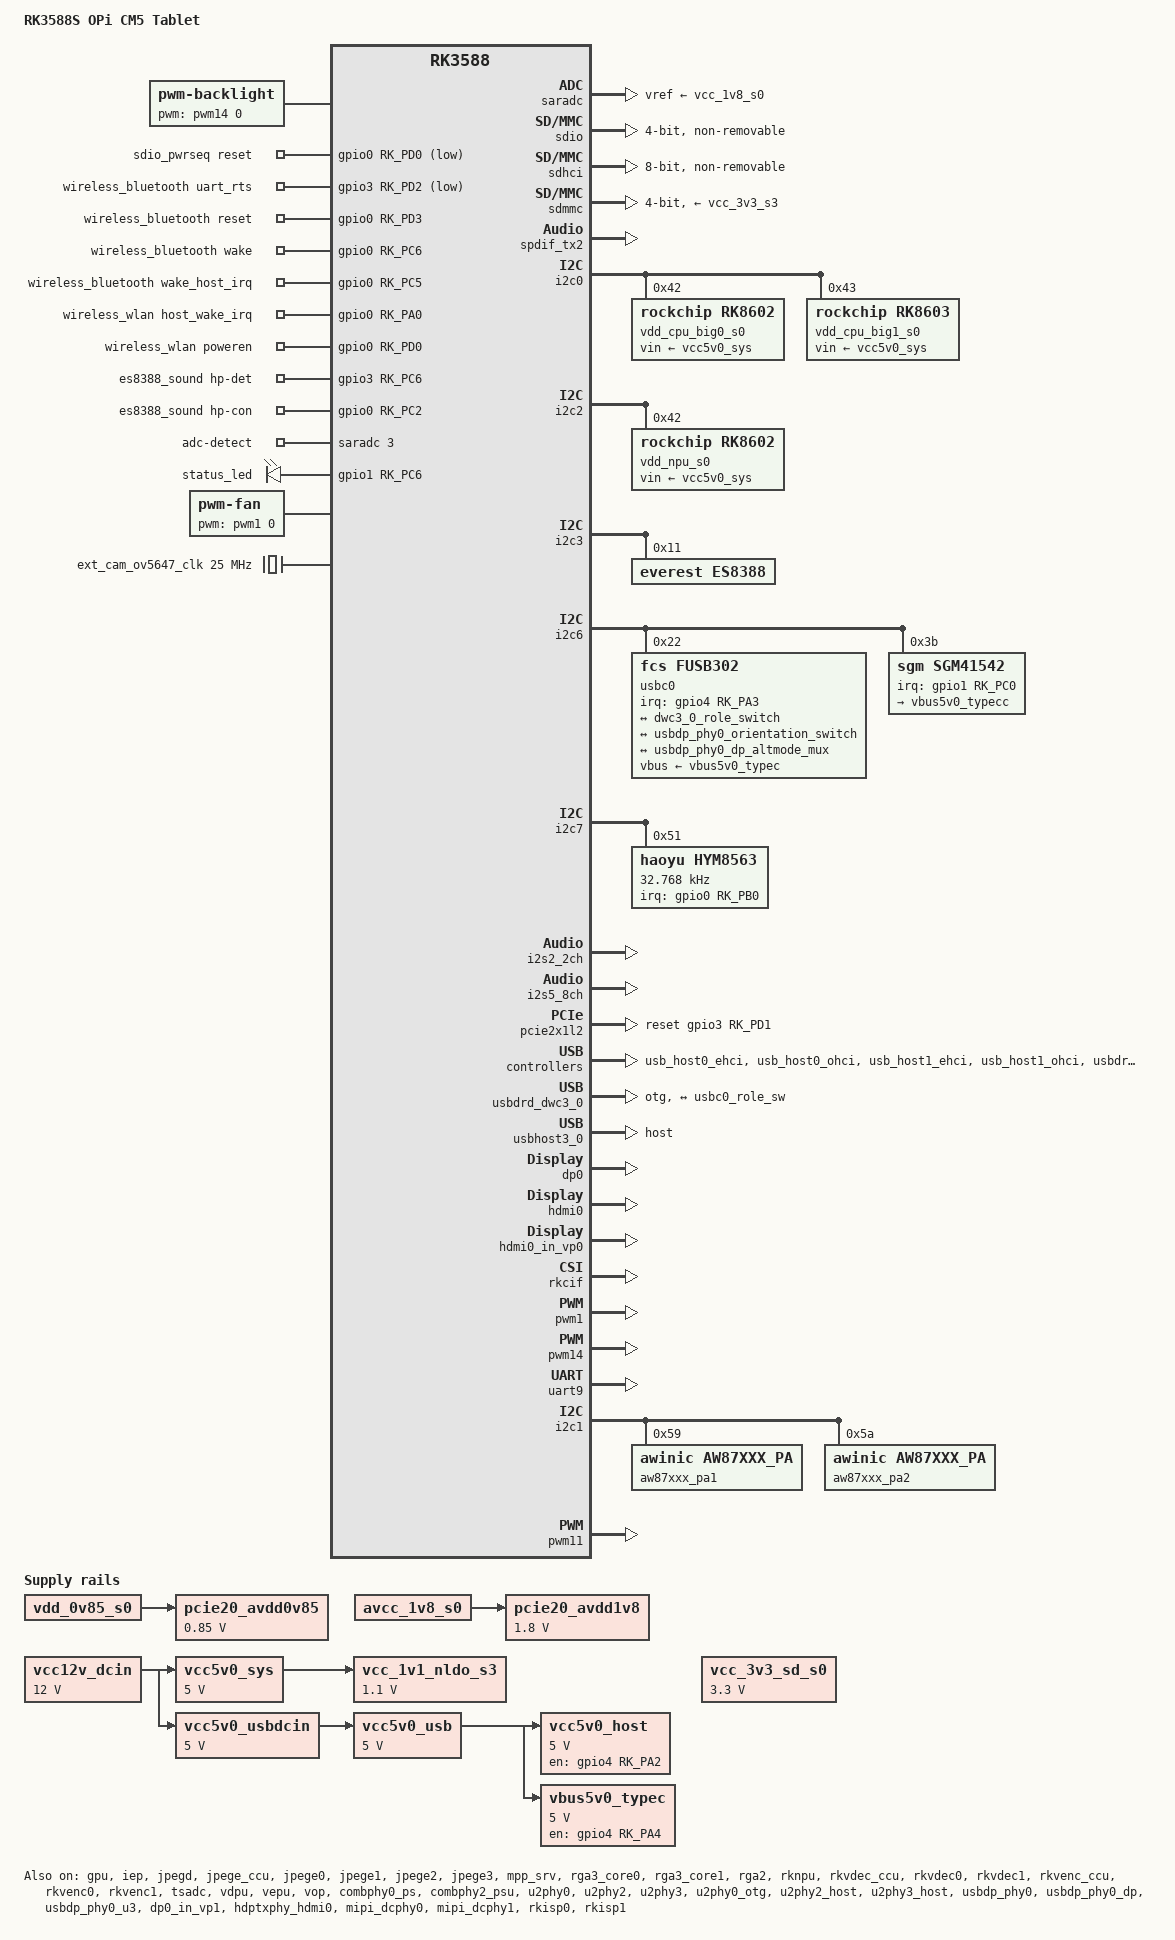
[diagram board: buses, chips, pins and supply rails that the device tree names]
// SPDX-License-Identifier: (GPL-2.0+ OR MIT)
/*
 * Copyright (c) 2021 Rockchip Electronics Co., Ltd.
 *
 */

/dts-v1/;

#include <dt-bindings/gpio/gpio.h>
#include <dt-bindings/pwm/pwm.h>
#include <dt-bindings/pinctrl/rockchip.h>
#include <dt-bindings/input/rk-input.h>
#include <dt-bindings/display/drm_mipi_dsi.h>
#include <dt-bindings/display/rockchip_vop.h>
#include <dt-bindings/sensor-dev.h>
#include "dt-bindings/usb/pd.h"

#include "rk3588s.dtsi"
#include "rk3588-rk806-single.dtsi"
#include "rk3588-linux.dtsi"

#include "rk3588s-orangepi-cm5-tablet-lcd.dtsi"
#include "rk3588s-orangepi-cm5-tablet-camera1.dtsi"
#include "rk3588s-orangepi-cm5-tablet-camera2.dtsi"
#include "rk3588s-orangepi-cm5-tablet-camera3.dtsi"

/ {
	model = "RK3588S OPi CM5 Tablet";
	compatible = "rockchip,rk3588s-orangepi-cm5-tablet", "rockchip,rk3588";

	backlight: backlight {
		compatible = "pwm-backlight";
		pwms = <&pwm14 0 25000 0>;
		brightness-levels = <
			  0  20  20  21  21  22  22  23
			 23  24  24  25  25  26  26  27
			 27  28  28  29  29  30  30  31
			 31  32  32  33  33  34  34  35
			 35  36  36  37  37  38  38  39
			 40  41  42  43  44  45  46  47
			 48  49  50  51  52  53  54  55
			 56  57  58  59  60  61  62  63
			 64  65  66  67  68  69  70  71
			 72  73  74  75  76  77  78  79
			 80  81  82  83  84  85  86  87
			 88  89  90  91  92  93  94  95
			 96  97  98  99 100 101 102 103
			104 105 106 107 108 109 110 111
			112 113 114 115 116 117 118 119
			120 121 122 123 124 125 126 127
			128 129 130 131 132 133 134 135
			136 137 138 139 140 141 142 143
			144 145 146 147 148 149 150 151
			152 153 154 155 156 157 158 159
			160 161 162 163 164 165 166 167
			168 169 170 171 172 173 174 175
			176 177 178 179 180 181 182 183
			184 185 186 187 188 189 190 191
			192 193 194 195 196 197 198 199
			200 201 202 203 204 205 206 207
			208 209 210 211 212 213 214 215
			216 217 218 219 220 221 222 223
			224 225 226 227 228 229 230 231
			232 233 234 235 236 237 238 239
			240 241 242 243 244 245 246 247
			248 249 250 251 252 253 254 255
		>;
		default-brightness-level = <200>;
	};

	dp0_sound: dp0-sound {
		status = "okay";
		compatible = "rockchip,hdmi";
		rockchip,card-name= "rockchip,dp0";
		rockchip,mclk-fs = <512>;
		rockchip,cpu = <&spdif_tx2>;
		rockchip,codec = <&dp0 1>;
		rockchip,jack-det;
	};

	hdmi0_sound: hdmi0-sound {
		status = "okay";
		compatible = "rockchip,hdmi";
		rockchip,mclk-fs = <128>;
		rockchip,card-name = "rockchip-hdmi0";
		rockchip,cpu = <&i2s5_8ch>;
		rockchip,codec = <&hdmi0>;
		rockchip,jack-det;
	};

	test-power {
		status = "disabled";
	};

	vcc12v_dcin: vcc12v-dcin {
		compatible = "regulator-fixed";
		regulator-name = "vcc12v_dcin";
		regulator-always-on;
		regulator-boot-on;
		regulator-min-microvolt = <12000000>;
		regulator-max-microvolt = <12000000>;
	};

	vcc5v0_sys: vcc5v0-sys {
		compatible = "regulator-fixed";
		regulator-name = "vcc5v0_sys";
		regulator-always-on;
		regulator-boot-on;
		regulator-min-microvolt = <5000000>;
		regulator-max-microvolt = <5000000>;
		vin-supply = <&vcc12v_dcin>;
	};

	vcc5v0_usbdcin: vcc5v0-usbdcin {
		compatible = "regulator-fixed";
		regulator-name = "vcc5v0_usbdcin";
		regulator-always-on;
		regulator-boot-on;
		regulator-min-microvolt = <5000000>;
		regulator-max-microvolt = <5000000>;
		vin-supply = <&vcc12v_dcin>;
	};

	vcc5v0_usb: vcc5v0-usb {
		compatible = "regulator-fixed";
		regulator-name = "vcc5v0_usb";
		regulator-always-on;
		regulator-boot-on;
		regulator-min-microvolt = <5000000>;
		regulator-max-microvolt = <5000000>;
		vin-supply = <&vcc5v0_usbdcin>;
	};

	vcc_1v1_nldo_s3: vcc-1v1-nldo-s3 {
		compatible = "regulator-fixed";
		regulator-name = "vcc_1v1_nldo_s3";
		regulator-always-on;
		regulator-boot-on;
		regulator-min-microvolt = <1100000>;
		regulator-max-microvolt = <1100000>;
		vin-supply = <&vcc5v0_sys>;
	};

	vcc_3v3_sd_s0: vcc-3v3-sd-s0 {
		compatible = "regulator-fixed";
		regulator-name = "vcc_3v3_sd_s0";
		regulator-min-microvolt = <3300000>;
		regulator-max-microvolt = <3300000>;
	};

	pcie20_avdd0v85: pcie20-avdd0v85 {
		compatible = "regulator-fixed";
		regulator-name = "pcie20_avdd0v85";
		regulator-boot-on;
		regulator-always-on;
		regulator-min-microvolt = <850000>;
		regulator-max-microvolt = <850000>;
		vin-supply = <&vdd_0v85_s0>;
	};

	pcie20_avdd1v8: pcie20-avdd1v8 {
		compatible = "regulator-fixed";
		regulator-name = "pcie20_avdd1v8";
		regulator-boot-on;
		regulator-always-on;
		regulator-min-microvolt = <1800000>;
		regulator-max-microvolt = <1800000>;
		vin-supply = <&avcc_1v8_s0>;
	};

	vcc5v0_host: vcc5v0-host {
		compatible = "regulator-fixed";
		regulator-name = "vcc5v0_host";
		regulator-boot-on;
		regulator-always-on;
		enable-active-high;
		gpio = <&gpio4 RK_PA2 GPIO_ACTIVE_HIGH>;
		regulator-min-microvolt = <5000000>;
		regulator-max-microvolt = <5000000>;
		vin-supply = <&vcc5v0_usb>;
		pinctrl-names = "default";
		pinctrl-0 = <&vcc5v0_host_en>;
	};

	vbus5v0_typec: vbus5v0-typec {
		compatible = "regulator-fixed";
		regulator-name = "vbus5v0_typec";
		regulator-min-microvolt = <5000000>;
		regulator-max-microvolt = <5000000>;
		enable-active-high;
		gpio = <&gpio4 RK_PA4 GPIO_ACTIVE_HIGH>;
		vin-supply = <&vcc5v0_usb>;
		pinctrl-names = "default";
		pinctrl-0 = <&typec5v_pwren>;
	};

        sdio_pwrseq: sdio-pwrseq {
                compatible = "mmc-pwrseq-simple";
                clocks = <&hym8563>;
                clock-names = "ext_clock";
                pinctrl-names = "default";
                pinctrl-0 = <&wifi_enable_h>;
                /*
                 * On the module itself this is one of these (depending
                 * on the actual card populated):
                 * - SDIO_RESET_L_WL_REG_ON
                 * - PDN (power down when low)
                 */
                post-power-on-delay-ms = <200>;
                reset-gpios = <&gpio0 RK_PD0 GPIO_ACTIVE_LOW>;
        };

	wireless_bluetooth: wireless-bluetooth {
		compatible = "bluetooth-platdata";
		clocks = <&hym8563>;
		clock-names = "ext_clock";
		uart_rts_gpios = <&gpio3 RK_PD2 GPIO_ACTIVE_LOW>;
		pinctrl-names = "default", "rts_gpio";
		pinctrl-0 = <&uart9m2_rtsn>,  <&bt_reset_gpio>, <&bt_wake_gpio>, <&bt_irq_gpio>;
		pinctrl-1 = <&uart9_gpios>;
		BT,reset_gpio    = <&gpio0 RK_PD3 GPIO_ACTIVE_HIGH>;
		BT,wake_gpio     = <&gpio0 RK_PC6 GPIO_ACTIVE_HIGH>;
		BT,wake_host_irq = <&gpio0 RK_PC5 GPIO_ACTIVE_HIGH>;
		status = "okay";
	};

	wireless_wlan: wireless-wlan {
		compatible = "wlan-platdata";
		wifi_chip_type = "ap6256";
		pinctrl-names = "default";
		pinctrl-0 = <&wifi_host_wake_irq>;
		WIFI,host_wake_irq = <&gpio0 RK_PA0 GPIO_ACTIVE_HIGH>;
		WIFI,poweren_gpio = <&gpio0 RK_PD0 GPIO_ACTIVE_HIGH>;
		status = "okay";
	};

	es8388_sound: es8388-sound {
		status = "okay";
		compatible = "rockchip,multicodecs-card";
		rockchip,card-name = "rockchip,es8388";
		hp-det-gpio = <&gpio3 RK_PC6 GPIO_ACTIVE_HIGH>;
		io-channels = <&saradc 3>;
		io-channel-names = "adc-detect";
		keyup-threshold-microvolt = <1800000>;
		poll-interval = <100>;
		hp-con-gpio = <&gpio0 RK_PC2 GPIO_ACTIVE_HIGH>;
		rockchip,aux-devs = <&aw87xxx_pa1 &aw87xxx_pa2>;
		rockchip,format = "i2s";
		rockchip,mclk-fs = <256>;
		rockchip,cpu = <&i2s2_2ch>;
		rockchip,codec = <&es8388>;
		rockchip,audio-routing =
			"Headphone", "LOUT1",
			"Headphone", "ROUT1",
			"Headphone", "Headphone Power",
			"Headphone", "Headphone Power",
			"LINPUT1", "Main Mic",
			"LINPUT2", "Main Mic",
			"RINPUT1", "Headset Mic",
			"RINPUT2", "Headset Mic";
		pinctrl-names = "default";
		pinctrl-0 = <&hp_det>;
		play-pause-key {
			label = "playpause";
			linux,code = <KEY_PLAYPAUSE>;
			press-threshold-microvolt = <2000>;
		};
	};

	leds: gpio-leds {
		compatible = "gpio-leds";
		pinctrl-names = "default";
		pinctrl-0 =<&led_gpio>;
		status = "okay";

		led@1 {
			gpios = <&gpio1 RK_PC6 GPIO_ACTIVE_HIGH>;
			label = "status_led";
			linux,default-trigger = "heartbeat";
			linux,default-trigger-delay-ms = <0>;
		};
	};

	fan: pwm-fan {
		compatible = "pwm-fan";
		#cooling-cells = <2>;
		pwms = <&pwm1 0 50000 0>;
		cooling-levels = <0 50 100 150 200 255>;
		rockchip,temp-trips = <
			50000   1
			55000   2
			60000   3
			65000   4
			70000   5
		>;

		status = "okay";
	};

	ext_cam_ov5647_clk: external-camera-ov5647-clock {
		compatible = "fixed-clock";
		clock-frequency = <25000000>;
		clock-output-names = "ext_cam_ov5647_clk";
		#clock-cells = <0>;
	};
};

&av1d_mmu {
	status = "okay";
};

&gpu {
	mali-supply = <&vdd_gpu_s0>;
	mem-supply = <&vdd_gpu_mem_s0>;
	status = "okay";
};

&iep {
	status = "okay";
};

&iep_mmu {
	status = "okay";
};

&jpegd {
	status = "okay";
};

&jpegd_mmu {
	status = "okay";
};

&jpege_ccu {
	status = "okay";
};

&jpege0 {
	status = "okay";
};

&jpege0_mmu {
	status = "okay";
};

&jpege1 {
	status = "okay";
};

&jpege1_mmu {
	status = "okay";
};

&jpege2 {
	status = "okay";
};

&jpege2_mmu {
	status = "okay";
};

&jpege3 {
	status = "okay";
};

&jpege3_mmu {
	status = "okay";
};

&mpp_srv {
	status = "okay";
};

&rga3_core0 {
	status = "okay";
};

&rga3_0_mmu {
	status = "okay";
};

&rga3_core1 {
	status = "okay";
};

&rga3_1_mmu {
	status = "okay";
};

&rga2 {
	status = "okay";
};

&rknpu {
	rknpu-supply = <&vdd_npu_s0>;
	mem-supply = <&vdd_npu_mem_s0>;
	status = "okay";
};

&rknpu_mmu {
	status = "okay";
};

&rkvdec_ccu {
	status = "okay";
};

&rkvdec0 {
	status = "okay";
};

&rkvdec0_mmu {
	status = "okay";
};

&rkvdec1 {
	status = "okay";
};

&rkvdec1_mmu {
	status = "okay";
};

&rkvenc_ccu {
	status = "okay";
};

&rkvenc0 {
	status = "okay";
};

&rkvenc0_mmu {
	status = "okay";
};

&rkvenc1 {
	status = "okay";
};

&rkvenc1_mmu {
	status = "okay";
};

&rockchip_suspend {
	status = "okay";
	rockchip,sleep-debug-en = <1>;
};

&saradc {
	status = "okay";
	vref-supply = <&vcc_1v8_s0>;
};

&sdio {
        max-frequency = <150000000>;
        no-sd;
        no-mmc;
        bus-width = <4>;
        disable-wp;
        cap-sd-highspeed;
	cap-sdio-irq;
        keep-power-in-suspend;
        mmc-pwrseq = <&sdio_pwrseq>;
        non-removable;
        pinctrl-names = "default";
        pinctrl-0 = <&sdiom1_pins>;
        sd-uhs-sdr104;
        status = "okay";
};

&sdhci {
	bus-width = <8>;
	no-sdio;
	no-sd;
	non-removable;
	max-frequency = <200000000>;
	mmc-hs400-1_8v;
	mmc-hs400-enhanced-strobe;
	status = "okay";
};

&sdmmc {
	max-frequency = <150000000>;
	no-sdio;
	no-mmc;
	bus-width = <4>;
	cap-mmc-highspeed;
	cap-sd-highspeed;
	disable-wp;
	sd-uhs-sdr104;
	vmmc-supply = <&vcc_3v3_s3>;
	vqmmc-supply = <&vccio_sd_s0>;
	status = "okay";
};

&tsadc {
	status = "okay";
};

&vdpu {
	status = "okay";
};

&vdpu_mmu {
	status = "okay";
};

&vepu {
	status = "okay";
};

&vop {
	status = "okay";
	disable-win-move;
	assigned-clocks = <&cru ACLK_VOP>;
	assigned-clock-rates = <800000000>;
};

&vop_mmu {
	status = "okay";
};

/* vp0 & vp1 splice for 8K output */
&vp0 {
	cursor-win-id=<ROCKCHIP_VOP2_ESMART0>;
	rockchip,plane-mask = <(1 << ROCKCHIP_VOP2_CLUSTER0 | 1 << ROCKCHIP_VOP2_ESMART0)>;
	rockchip,primary-plane = <ROCKCHIP_VOP2_ESMART0>;
	rockchip,primary-plane = <ROCKCHIP_VOP2_CLUSTER0>;
};

&vp1 {
	cursor-win-id=<ROCKCHIP_VOP2_ESMART1>;
	rockchip,plane-mask = <(1 << ROCKCHIP_VOP2_CLUSTER1 | 1 << ROCKCHIP_VOP2_ESMART1)>;
	rockchip,primary-plane = <ROCKCHIP_VOP2_ESMART1>;
	rockchip,primary-plane = <ROCKCHIP_VOP2_CLUSTER1>;
};

&vp2 {
	cursor-win-id=<ROCKCHIP_VOP2_ESMART2>;
	rockchip,plane-mask = <(1 << ROCKCHIP_VOP2_CLUSTER2 | 1 << ROCKCHIP_VOP2_ESMART2)>;
	rockchip,primary-plane = <ROCKCHIP_VOP2_ESMART2>;
	rockchip,primary-plane = <ROCKCHIP_VOP2_CLUSTER2>;
};

&vp3 {
	cursor-win-id=<ROCKCHIP_VOP2_ESMART3>;
	rockchip,plane-mask = <(1 << ROCKCHIP_VOP2_CLUSTER3 | 1 << ROCKCHIP_VOP2_ESMART3)>;
	rockchip,primary-plane = <ROCKCHIP_VOP2_ESMART3>;
	rockchip,primary-plane = <ROCKCHIP_VOP2_CLUSTER3>;
};

&display_subsystem {
	clocks = <&hdptxphy_hdmi_clk0>;
	clock-names = "hdmi0_phy_pll";
};

&cpu_l0 {
	cpu-supply = <&vdd_cpu_lit_s0>;
	mem-supply = <&vdd_cpu_lit_mem_s0>;
};

&cpu_b0 {
	cpu-supply = <&vdd_cpu_big0_s0>;
	mem-supply = <&vdd_cpu_big0_mem_s0>;
};

&cpu_b2 {
	cpu-supply = <&vdd_cpu_big1_s0>;
	mem-supply = <&vdd_cpu_big1_mem_s0>;
};

&combphy0_ps {
	status = "okay";
};

&combphy2_psu {
	status = "okay";
};

&spdif_tx2{
	status = "okay";
};

&i2c0 {
	status = "okay";
	pinctrl-names = "default";
	pinctrl-0 = <&i2c0m2_xfer>;

	vdd_cpu_big0_s0: vdd_cpu_big0_mem_s0: rk8602@42 {
		compatible = "rockchip,rk8602";
		reg = <0x42>;
		vin-supply = <&vcc5v0_sys>;
		regulator-compatible = "rk860x-reg";
		regulator-name = "vdd_cpu_big0_s0";
		regulator-min-microvolt = <550000>;
		regulator-max-microvolt = <1050000>;
		regulator-ramp-delay = <2300>;
		rockchip,suspend-voltage-selector = <1>;
		regulator-boot-on;
		regulator-always-on;
		regulator-state-mem {
			regulator-off-in-suspend;
		};
	};

	vdd_cpu_big1_s0: vdd_cpu_big1_mem_s0: rk8603@43 {
		compatible = "rockchip,rk8603";
		reg = <0x43>;
		vin-supply = <&vcc5v0_sys>;
		regulator-compatible = "rk860x-reg";
		regulator-name = "vdd_cpu_big1_s0";
		regulator-min-microvolt = <550000>;
		regulator-max-microvolt = <1050000>;
		regulator-ramp-delay = <2300>;
		rockchip,suspend-voltage-selector = <1>;
		regulator-boot-on;
		regulator-always-on;
		regulator-state-mem {
			regulator-off-in-suspend;
		};
	};
};

&i2c2 {
	status = "okay";
	pinctrl-names = "default";
	pinctrl-0 = <&i2c2m0_xfer>;

	vdd_npu_s0: vdd_npu_mem_s0: rk8602@42 {
		compatible = "rockchip,rk8602";
		reg = <0x42>;
		vin-supply = <&vcc5v0_sys>;
		regulator-compatible = "rk860x-reg";
		regulator-name = "vdd_npu_s0";
		regulator-min-microvolt = <550000>;
		regulator-max-microvolt = <950000>;
		regulator-ramp-delay = <2300>;
		rockchip,suspend-voltage-selector = <1>;
		regulator-boot-on;
		regulator-always-on;
		regulator-state-mem {
			regulator-off-in-suspend;
		};
	};
};

&i2c3 {
	status = "okay";
	pinctrl-names = "default";
	pinctrl-0 = <&i2c3m1_xfer>;

	es8388: es8388@11 {
		status = "okay";
		#sound-dai-cells = <0>;
		compatible = "everest,es8388", "everest,es8323";
		reg = <0x11>;
		clocks = <&mclkout_i2s2>;
		clock-names = "mclk";
		assigned-clocks = <&mclkout_i2s2>;
		assigned-clock-rates = <12288000>;
		pinctrl-names = "default";
		pinctrl-0 = <&i2s2m1_mclk>;
	};
};

&i2c6 {
	status = "okay";
	pinctrl-names = "default";
	pinctrl-0 = <&i2c6m3_xfer>;

	usbc0: fusb302@22 {
		compatible = "fcs,fusb302";
		reg = <0x22>;
		interrupt-parent = <&gpio4>;
		interrupts = <RK_PA3 IRQ_TYPE_LEVEL_LOW>;
		pinctrl-names = "default";
		pinctrl-0 = <&usbc0_int>;
		vbus-supply = <&vbus5v0_typec>;
		status = "okay";

		ports {
			#address-cells = <1>;
			#size-cells = <0>;

			port@0 {
				reg = <0>;
				usbc0_role_sw: endpoint@0 {
					remote-endpoint = <&dwc3_0_role_switch>;
				};
			};
		};

		usb_con: connector {
			compatible = "usb-c-connector";
			label = "USB-C";
			data-role = "dual";
			power-role = "dual";
			try-power-role = "sink";
			op-sink-microwatt = <1000000>;
			sink-pdos =
			        <PDO_FIXED(5000, 1000, PDO_FIXED_USB_COMM)>;
			source-pdos =
			        <PDO_FIXED(5000, 3000, PDO_FIXED_USB_COMM)>;

			altmodes {
				#address-cells = <1>;
				#size-cells = <0>;

				altmode@0 {
					reg = <0>;
					svid = <0xff01>;
					vdo = <0xffffffff>;
				};
			};

			ports {
				#address-cells = <1>;
				#size-cells = <0>;

				port@0 {
					reg = <0>;
					usbc0_orien_sw: endpoint {
						remote-endpoint = <&usbdp_phy0_orientation_switch>;
					};
				};

				port@1 {
					reg = <1>;
					dp_altmode_mux: endpoint {
						remote-endpoint = <&usbdp_phy0_dp_altmode_mux>;
					};
				};
			};
		};
	};

	sgm41542: sgm41542@3b {
		compatible = "sgm,sgm41542";
		reg = <0x3b>;

		pinctrl-names = "default";
		pinctrl-0 = <&charger_ok>;
		interrupt-parent = <&gpio1>;
		interrupts = <RK_PC0 IRQ_TYPE_EDGE_FALLING>;

		input-voltage-limit-microvolt = <4500000>;
		input-current-limit-microamp = <3000000>;
		regulators {
			vbus5v0_typecc: vbus5v0-typec {
				regulator-compatible = "otg-vbus";
				regulator-name = "vbus5v0_typecc";
			};
		};
	};
};

&i2c7 {
	status = "okay";
	pinctrl-names = "default";
	pinctrl-0 = <&i2c7m3_xfer>;

	hym8563: hym8563@51 {
		compatible = "haoyu,hym8563";
		reg = <0x51>;
		#clock-cells = <0>;
		clock-frequency = <32768>;
		clock-output-names = "hym8563";
		pinctrl-names = "default";
		pinctrl-0 = <&hym8563_int>;
		interrupt-parent = <&gpio0>;
		interrupts = <RK_PB0 IRQ_TYPE_LEVEL_LOW>;
		status = "okay";
	};
};

&i2s2_2ch {
	status = "okay";
	pinctrl-0 = <&i2s2m1_lrck
	             &i2s2m1_sclk
	             &i2s2m1_sdi
	             &i2s2m1_sdo>;
};

&i2s5_8ch {
	status = "okay";
};

//phy0
&pcie2x1l2 {
	reset-gpios = <&gpio3 RK_PD1 GPIO_ACTIVE_HIGH>;
	status = "okay";
};

&pinctrl {
	charger {
		charger_ok: charger_ok {
			rockchip,pins = <1 RK_PC0 RK_FUNC_GPIO &pcfg_pull_up>;
		};
	};

	usb-typec {
		usbc0_int: usbc0-int {
			rockchip,pins = <4 RK_PA3 RK_FUNC_GPIO &pcfg_pull_up>;
		};

		typec5v_pwren: typec5v-pwren {
			rockchip,pins = <4 RK_PA4 RK_FUNC_GPIO &pcfg_pull_none>;
		};
	};

	usb {
		vcc5v0_host_en: vcc5v0-host-en {
			rockchip,pins = <4 RK_PA2 RK_FUNC_GPIO &pcfg_pull_none>;
		};
	};

	sdio-pwrseq {
		wifi_enable_h: wifi-enable-h {
			rockchip,pins = <0 RK_PD0 RK_FUNC_GPIO &pcfg_pull_none>;
		};
	};

	headphone {
		hp_det: hp-det {
			rockchip,pins = <3 RK_PC6 RK_FUNC_GPIO &pcfg_pull_none>;
		};
	};

	hym8563 {
		hym8563_int: hym8563-int {
			rockchip,pins = <0 RK_PB0 RK_FUNC_GPIO &pcfg_pull_up>;
		};
	};

	wireless-bluetooth {
		uart9_gpios: uart9-gpios {
			rockchip,pins = <3 RK_PD2 RK_FUNC_GPIO &pcfg_pull_none>;
		};

		bt_reset_gpio: bt-reset-gpio {
			rockchip,pins = <0 RK_PD3 RK_FUNC_GPIO &pcfg_pull_none>;
		};

		bt_wake_gpio: bt-wake-gpio {
			rockchip,pins = <0 RK_PC6 RK_FUNC_GPIO &pcfg_pull_none>;
		};

		bt_irq_gpio: bt-irq-gpio {
			rockchip,pins = <0 RK_PC5 RK_FUNC_GPIO &pcfg_pull_down>;
		};
	};

	wireless-wlan {
		wifi_host_wake_irq: wifi-host-wake-irq {
			rockchip,pins = <0 RK_PA0 RK_FUNC_GPIO &pcfg_pull_down>;
		};
	};

	leds {
		led_gpio: led-gpio {
			rockchip,pins = <1 RK_PC6 RK_FUNC_GPIO &pcfg_pull_none>;
		};
	};
};

&u2phy0 {
	status = "okay";
};

&u2phy2 {
	status = "okay";
};

&u2phy3 {
	status = "okay";
};

&u2phy0_otg {
	status = "okay";
};

&u2phy2_host {
	status = "okay";
};

&u2phy3_host {
	status = "okay";
};

&usb_host0_ehci {
	status = "okay";
};

&usb_host0_ohci {
	status = "okay";
};

&usb_host1_ehci {
	status = "okay";
};

&usb_host1_ohci {
	status = "okay";
};

&usbdrd3_0 {
	status = "okay";
};

&usbdrd_dwc3_0 {
	status = "okay";
	dr_mode = "otg";
	usb-role-switch;
	port {
		#address-cells = <1>;
		#size-cells = <0>;
		dwc3_0_role_switch: endpoint@0 {
			reg = <0>;
			remote-endpoint = <&usbc0_role_sw>;
		};
	};
};

&usbhost3_0 {
	dr_mode = "host";
	status = "okay";
};

&usbhost_dwc3_0 {
        status = "okay";
};

&usbdp_phy0 {
        orientation-switch;
        svid = <0xff01>;
        status = "okay";

        port {
                #address-cells = <1>;
                #size-cells = <0>;
                usbdp_phy0_orientation_switch: endpoint@0 {
                reg = <0>;
                        remote-endpoint = <&usbc0_orien_sw>;
                };

                usbdp_phy0_dp_altmode_mux: endpoint@1 {
                        reg = <1>;
                        remote-endpoint = <&dp_altmode_mux>;
                };
        };
};

&usbdp_phy0_dp {
	status = "okay";
};

&usbdp_phy0_u3 {
	status = "okay";
};

&dp0 {
        status = "okay";
};

&dp0_in_vp1 {
        status = "okay";
};

&hdmi0 {
	status = "okay";
	enable-gpios = <&gpio4 RK_PB5 GPIO_ACTIVE_HIGH>;
	cec-enable = "true";
};

&hdmi0_in_vp0 {
	status = "okay";
};

&hdptxphy_hdmi0 {
	status = "okay";
};

&mipi_dcphy0 {
	status = "okay";
};

&mipi_dcphy1 {
	status = "okay";
};

&rkcif {
        status = "okay";
};

&rkcif_mmu {
        status = "okay";
};

&rkisp0 {
        status = "okay";
};

&isp0_mmu {
        status = "okay";
};

&rkisp1 {
	status = "okay";
};

&isp1_mmu {
	status = "okay";
};

/* watchdog */
&wdt {
	status = "okay";
};

&sfc {
	status = "disabled";
};

&pwm1 {
        pinctrl-names = "active";
        pinctrl-0 = <&pwm1m1_pins>;
        status = "okay";
};

&pwm13 {
        pinctrl-names = "active";
        pinctrl-0 = <&pwm13m2_pins>;
        status = "disabled";
};

&pwm14 {
        pinctrl-names = "active";
        pinctrl-0 = <&pwm14m0_pins>;
        status = "okay";
};

&pwm15 {
        pinctrl-names = "active";
        pinctrl-0 = <&pwm15m3_pins>;
        status = "disabled";
};

&spi0 {
        status = "disabled";
        assigned-clocks = <&cru CLK_SPI0>;
        assigned-clock-rates = <200000000>;
        num-cs = <2>;
};

&spi4 {
        status = "disabled";
        assigned-clocks = <&cru CLK_SPI4>;
        assigned-clock-rates = <200000000>;
};

&uart4 {
        status = "disabled";
        pinctrl-names = "default";
        pinctrl-0 = <&uart4m2_xfer>;
};

&uart9 {
        status = "okay";
        pinctrl-names = "default";
        pinctrl-0 = <&uart9m2_xfer &uart9m2_ctsn>;
};

&i2c1 {
        status = "okay";
        pinctrl-names = "default";
        pinctrl-0 = <&i2c1m2_xfer>;

        aw87xxx_pa1: aw87xxx_pa1@59 {
                compatible = "awinic,aw87xxx_pa";
                #sound-dai-cells = <0>;
                reg = <0x59>;
                dev_index = <0>;
                status = "okay";
        };

        aw87xxx_pa2: aw87xxx_pa2@5a {
                compatible = "awinic,aw87xxx_pa";
                #sound-dai-cells = <0>;
                reg = <0x5a>;
                dev_index = <1>;
                status = "okay";
        };
};

&i2c4 {
        status = "disabled";
        pinctrl-names = "default";
        pinctrl-0 = <&i2c4m3_xfer>;
};

&i2c5 {
        status = "disabled";
        pinctrl-names = "default";
        pinctrl-0 = <&i2c5m3_xfer>;
};

&i2c8 {
        status = "disabled";
        pinctrl-names = "default";
        pinctrl-0 = <&i2c8m2_xfer>;
};

&pwm3 {
        status = "disabled";
        pinctrl-0 = <&pwm3m3_pins>;
};

&uart1 {
        status = "disabled";
        pinctrl-0 = <&uart1m1_xfer>;
};

&uart6 {
        status = "disabled";
        pinctrl-0 = <&uart6m1_xfer>;
};

&uart7 {
        status = "disabled";
        pinctrl-0 = <&uart7m2_xfer>;
};

&pwm11 {
        compatible = "rockchip,remotectl-pwm";
        pinctrl-names = "default";
        pinctrl-0 = <&pwm11m2_pins>;
        remote_pwm_id = <3>;
        handle_cpu_id = <1>;
        remote_support_psci = <0>;
        status = "okay";

        ir_key1 {
                rockchip,usercode = <0xfb04>;
                rockchip,key_table =
                        <0xa3   KEY_ENTER>,
                        <0xe4   388>,
                        <0xf5   KEY_BACK>,
                        <0xbb   KEY_UP>,
                        <0xe2   KEY_DOWN>,
                        <0xe3   KEY_LEFT>,
                        <0xb7   KEY_RIGHT>,
                        <0xe0   KEY_HOME>,
                        <0xba   KEY_VOLUMEUP>,
                        <0xda   KEY_VOLUMEUP>,
                        <0xe6   KEY_VOLUMEDOWN>,
                        <0xdb   KEY_VOLUMEDOWN>,
                        <0xbc   KEY_SEARCH>,
                        <0xb2   KEY_POWER>,
                        <0xe5   KEY_POWER>,
                        <0xde   KEY_POWER>,
                        <0xdc   KEY_MUTE>,
                        <0xa2   KEY_MENU>,
                        <0xec   KEY_1>,
                        <0xef   KEY_2>,
                        <0xee   KEY_3>,
                        <0xf0   KEY_4>,
                        <0xf3   KEY_5>,
                        <0xf2   KEY_6>,
                        <0xf4   KEY_7>,
                        <0xf7   KEY_8>,
                        <0xf6   KEY_9>,
                        <0xb8   KEY_0>;
        };
};

/* delete gpio0_c2 */
&pmic_pins {
	rockchip,pins =
		/* pmic_int_l */
		<0 RK_PA7 0 &pcfg_pull_up>,
		/* pmic_sleep1 */
		<0 RK_PA2 1 &pcfg_pull_down>,
		/* pmic_sleep2 */
		<0 RK_PA3 1 &pcfg_pull_none>,
		/* pmic_sleep3 */
		<0 RK_PC1 1 &pcfg_pull_none>,
		/* pmic_sleep5 */
		<0 RK_PC3 1 &pcfg_pull_none>,
		/* pmic_sleep6 */
		<0 RK_PD6 1 &pcfg_pull_none>;
};
